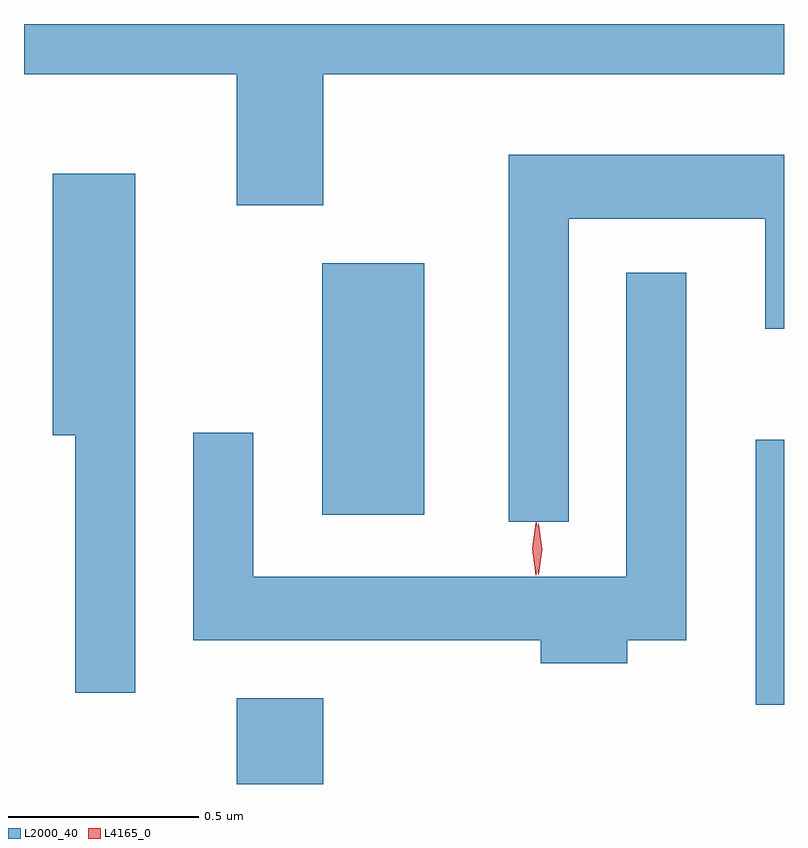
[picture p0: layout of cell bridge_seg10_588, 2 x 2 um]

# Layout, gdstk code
import gdstk
lib = gdstk.Library(unit=1e-6, precision=1e-09)
def R(c, l, rs):  # rectangles x0, y0, x1, y1
    for r in rs: c.add(gdstk.rectangle(r[:2], r[2:], *l))
def P(c, l, *ps):  # polygons
    for p in ps: c.add(gdstk.Polygon(p, *l))
L2000_40 = (2000, 40)
L4165_0 = (4165, 0)

bridge_seg10_588 = lib.new_cell('bridge_seg10_588')
R(bridge_seg10_588, L2000_40, [(769.671,2169.768,769.899,2169.994), (771.036,2169.976,771.111,2170.674), (769.896,2170.476,770.164,2171.139)])
P(bridge_seg10_588, L2000_40, [(769.899,2171.636),(771.111,2171.636),(771.111,2171.768),(769.111,2171.768),(769.111,2171.636),(769.671,2171.636),(769.671,2171.291),(769.899,2171.291)],
  [(770.544,2171.256),(771.061,2171.256),(771.061,2170.966),(771.111,2170.966),(771.111,2171.424),(770.386,2171.424),(770.386,2170.458),(770.544,2170.458)],
  [(769.404,2171.374),(769.186,2171.374),(769.186,2170.686),(769.246,2170.686),(769.246,2170.008),(769.404,2170.008)],
  [(770.699,2170.146),(770.854,2170.146),(770.854,2171.113),(770.696,2171.113),(770.696,2170.314),(769.714,2170.314),(769.714,2170.693),(769.556,2170.693),(769.556,2170.146),(770.471,2170.146),(770.471,2170.086),(770.699,2170.086)])
P(bridge_seg10_588, L4165_0, [(770.458,2170.317),(770.458,2170.318),(770.449,2170.387),(770.458,2170.456),(770.459,2170.456),(770.46,2170.456),(770.468,2170.387),(770.459,2170.318)],
  [(770.465,2170.319),(770.464,2170.32),(770.455,2170.386),(770.464,2170.452),(770.465,2170.453),(770.465,2170.452),(770.475,2170.386),(770.465,2170.32)])

lib.write_gds('bridge_seg10_588.gds')
